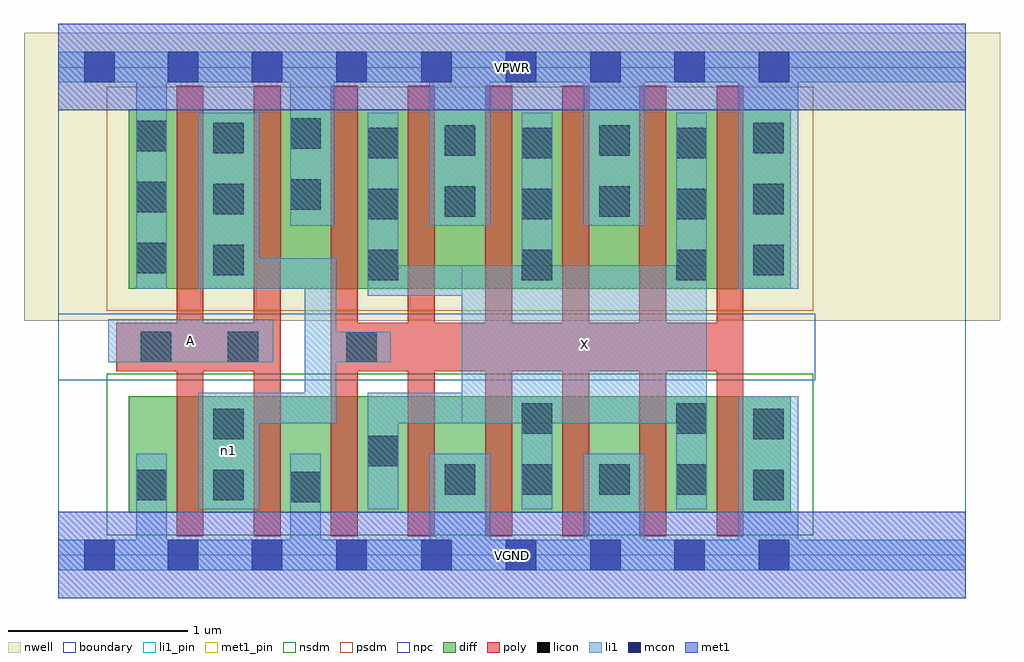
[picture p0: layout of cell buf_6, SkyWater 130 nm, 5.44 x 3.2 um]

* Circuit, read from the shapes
.subckt buf_6 A VGND VPWR X n1
XM1 n1 A VGND VSUBS sky130_fd_pr__nfet_01v8 w=0.65 l=0.15 m=2
XM2 X n1 VGND VSUBS sky130_fd_pr__nfet_01v8 w=0.65 l=0.15 m=6
XM3 n1 A VPWR n2 sky130_fd_pr__pfet_01v8 w=1 l=0.15 m=2
XM4 X n1 VPWR n2 sky130_fd_pr__pfet_01v8 w=1 l=0.15 m=6
.ends

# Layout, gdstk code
import gdstk
lib = gdstk.Library(unit=1e-6, precision=1e-09)
def R(c, l, rs):  # rectangles x0, y0, x1, y1
    for r in rs: c.add(gdstk.rectangle(r[:2], r[2:], *l))
def A(c, l, x, y, w, h, nx, ny, dx, dy):  # array of equal rectangles
    R(c, l, [(x+i*dx, y+j*dy, x+i*dx+w, y+j*dy+h) for i in range(nx) for j in range(ny)])
nwell = (64, 20)
diff = (65, 20)
poly = (66, 20)
licon = (66, 44)
li1_pin = (67, 16)
li1 = (67, 20)
mcon = (67, 44)
met1_pin = (68, 16)
met1 = (68, 20)
nsdm = (93, 44)
psdm = (94, 20)
npc = (95, 20)
boundary = (235, 4)

buf_6 = lib.new_cell('buf_6')
R(buf_6, nwell, [(-0.19,1.305,5.25,2.91), (0,1.305,5.06,2.91)])
R(buf_6, diff, [(0.395,0.235,4.085,0.885), (0.395,1.485,4.085,2.485)])
A(buf_6, poly, 0.66, 0.105, 0.15, 2.51, 8, 1, 0.43, 0)
R(buf_6, poly, [(0.325,1.025,1.24,1.295), (1.52,1.025,3.82,1.295)])
A(buf_6, licon, 2.155, 0.335, 0.17, 0.17, 4, 1, 0.43, 0)
A(buf_6, licon, 1.725, 1.53, 0.17, 0.17, 3, 3, 0.86, 0.34)
A(buf_6, licon, 0.865, 1.56, 0.17, 0.17, 1, 3, 0, 0.34)
A(buf_6, licon, 3.875, 1.56, 0.17, 0.17, 1, 3, 0, 0.34)
A(buf_6, licon, 0.435, 1.57, 0.17, 0.17, 1, 3, 0, 0.34)
R(buf_6, licon, [(1.295,0.295,1.465,0.465), (0.435,0.305,0.605,0.475), (0.865,0.305,1.035,0.475), (3.875,0.305,4.045,0.475), (1.725,0.495,1.895,0.665), (0.865,0.645,1.035,0.815), (3.875,0.645,4.045,0.815), (2.585,0.675,2.755,0.845), (3.445,0.675,3.615,0.845), (0.46,1.075,0.63,1.245), (0.945,1.075,1.115,1.245), (1.605,1.075,1.775,1.245), (2.155,1.885,2.325,2.055), (3.015,1.885,3.185,2.055), (1.295,1.925,1.465,2.095), (2.155,2.225,2.325,2.395), (3.015,2.225,3.185,2.395), (1.295,2.265,1.465,2.435)])
R(buf_6, li1_pin, [(2.25,0.735,3.615,1.615), (0.28,1.075,1.2,1.315)])
R(buf_6, li1, [(0,-0.085,5.06,0.085), (0.435,-0.085,0.605,0.565), (1.295,-0.085,1.465,0.565), (2.07,-0.085,2.41,0.565), (2.93,-0.085,3.27,0.565), (3.79,-0.085,4.125,0.885), (0.78,0.255,1.12,0.905), (1.725,0.255,1.895,0.905), (2.585,0.255,2.755,2.465), (3.445,0.255,3.615,2.465), (0.78,0.735,1.55,0.905), (1.375,0.735,1.55,1.655), (1.725,0.735,3.615,0.905), (2.25,0.735,3.615,1.615), (0.28,1.075,1.2,1.315), (1.375,1.075,1.855,1.245), (1.725,1.445,3.615,1.615), (1.725,1.445,1.895,2.465), (0.435,1.485,0.605,2.805), (0.78,1.485,1.55,1.655), (0.78,1.485,1.12,2.465), (3.79,1.485,4.125,2.805), (1.295,1.835,1.54,2.805), (2.07,1.835,2.41,2.805), (2.93,1.835,3.27,2.805), (0,2.635,5.06,2.805)])
A(buf_6, mcon, 0.61, -0.085, 0.17, 0.17, 3, 2, 0.47, 2.72)
A(buf_6, mcon, 2.025, -0.085, 0.17, 0.17, 5, 2, 0.47, 2.72)
R(buf_6, mcon, [(0.145,-0.085,0.315,0.085), (0.145,2.635,0.315,2.805)])
R(buf_6, met1_pin, [(0,-0.24,5.06,0.24), (0,2.48,5.06,2.96)])
R(buf_6, met1, [(0,-0.24,5.06,0.24), (0,2.48,5.06,2.96)])
R(buf_6, nsdm, [(0.27,0.11,4.21,1.01)])
R(buf_6, psdm, [(0.27,1.36,4.21,2.61)])
R(buf_6, npc, [(0,0.975,4.22,1.345)])
R(buf_6, boundary, [(0,0,5.06,2.72)])
buf_6.add(gdstk.Label('A', (0.74,1.195), layer=67, texttype=5))
buf_6.add(gdstk.Label('X', (2.932,1.175), layer=67, texttype=5))
buf_6.add(gdstk.Label('n1', (0.95,0.58), layer=67, texttype=5))
buf_6.add(gdstk.Label('VPWR', (2.53,2.72), layer=68, texttype=5))
buf_6.add(gdstk.Label('VGND', (2.53,0), layer=68, texttype=5))
buf_6.add(gdstk.Label('A', (0.74,1.195), layer=67, texttype=16))
buf_6.add(gdstk.Label('X', (2.932,1.175), layer=67, texttype=16))
buf_6.add(gdstk.Label('VPWR', (2.53,2.72), layer=68, texttype=16))
buf_6.add(gdstk.Label('VGND', (2.53,0), layer=68, texttype=16))

lib.write_gds('buf_6.gds')
